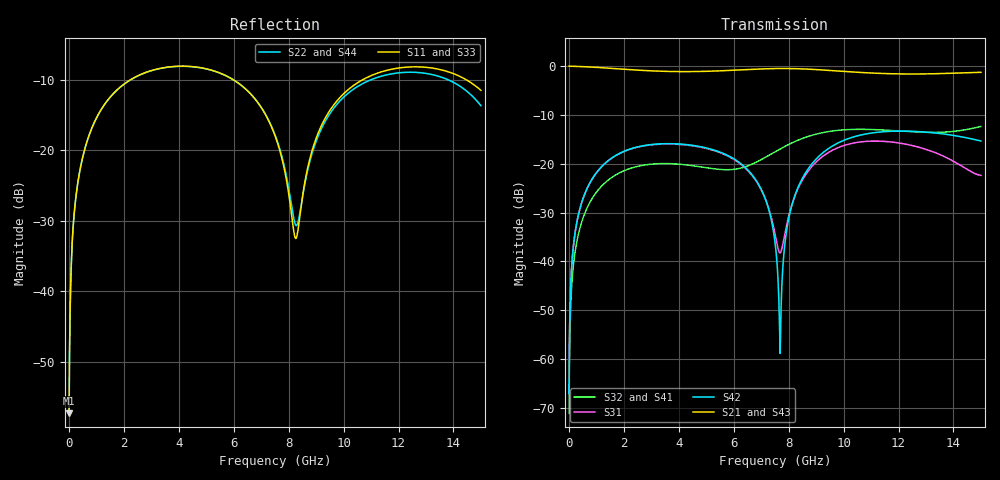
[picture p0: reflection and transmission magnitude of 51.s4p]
! Created with skrf 1.8.0 (http://scikit-rf.org).
# GHz S RI R 50.0
!freq ReS11 ImS11 ReS12 ImS12 ReS13 ImS13
! ReS14 ImS14
! ReS21 ImS21 ReS22 ImS22 ReS23 ImS23
! ReS24 ImS24
! ReS31 ImS31 ReS32 ImS32 ReS33 ImS33
! ReS34 ImS34
! ReS41 ImS41 ReS42 ImS42 ReS43 ImS43
! ReS44 ImS44
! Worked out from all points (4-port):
!   2499 points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, 5 MHz to 15 GHz, reference 50 ohm
!   strongest paths, dB at 5 MHz, 3.476 GHz, 7.19 GHz, 11.1 GHz, 15 GHz:
!     S21: 0.0, -1.1, -0.5, -1.4, -1.3
!     S43: 0.0, -1.1, -0.5, -1.4, -1.3
!     S42: -67.1, -15.9, -27.8, -13.7, -15.3
!     S31: -67.1, -16.0, -27.8, -15.4, -22.4
!     S32: -71.2, -20.0, -18.6, -13.0, -12.4
!     S41: -71.2, -20.0, -18.6, -13.0, -12.4
!   lowest |S11| = -57.3 dB at 5 MHz (marker M1), VSWR 1.00, Z = 50.1 + j0.0828 ohm
!   |S11| at or under -10 dB: start of sweep to 2.256 GHz; 5.973 GHz to 10.71 GHz (4.737 GHz wide, 56.8 % of centre); 14.45 GHz to end of sweep
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0.005  0.00109 0.000826  0.9989 -0.00212  5.34e-05 0.000438  -5.19e-05 -0.000272
       0.9989 -0.00212  0.00109 0.000826  -5.19e-05 -0.000272  5.34e-05 0.000438
       5.34e-05 0.000438  -5.19e-05 -0.000272  0.00109 0.000826  0.9989 -0.00212
       -5.19e-05 -0.000272  5.34e-05 0.000438  0.9989 -0.00212  0.00109 0.000826
0.4126719  0.0183 0.072  0.9748 -0.1743  0.0085 0.0347  -0.0071 -0.0215
           0.9748 -0.1743  0.0182 0.072  -0.00711 -0.0215  0.00865 0.0347
           0.0085 0.0347  -0.00711 -0.0215  0.0183 0.072  0.9748 -0.1743
           -0.0071 -0.0215  0.00865 0.0347  0.9748 -0.1743  0.0182 0.072
1.975823  0.2183 0.1916  0.6529 -0.6623  0.1087 0.0757  -0.081 -0.0224
          0.6529 -0.6623  0.2179 0.1917  -0.081 -0.0224  0.1107 0.0736
          0.1087 0.0757  -0.081 -0.0224  0.2184 0.1916  0.6529 -0.6623
          -0.081 -0.0224  0.1107 0.0736  0.6529 -0.6623  0.2179 0.1918
6.483952  0.1872 -0.188  -0.6561 -0.6476  0.046 -0.0734  -0.0444 0.0828
          -0.6561 -0.6476  0.1898 -0.1852  -0.044 0.0834  0.0452 -0.0755
          0.046 -0.0734  -0.044 0.0834  0.1891 -0.1878  -0.6556 -0.6476
          -0.0444 0.0828  0.0452 -0.0755  -0.6556 -0.6476  0.1897 -0.187
7.684452  0.0425 -0.0885  -0.902 -0.282  -0.0121 -0.00187  -0.0386 0.1363
          -0.902 -0.282  0.0478 -0.0886  -0.0375 0.1366  -0.00111 -0.000278
          -0.0121 -0.00187  -0.0375 0.1366  0.0455 -0.0896  -0.9016 -0.2825
          -0.0386 0.1363  -0.00111 -0.000278  -0.9016 -0.2825  0.046 -0.0911
9.228845  0.0858 0.1281  -0.8673 0.2873  0.0555 0.1044  0.0862 0.1895
          -0.8673 0.2873  0.0866 0.1184  0.0874 0.1886  0.0921 0.0893
          0.0555 0.1044  0.0874 0.1886  0.0885 0.1244  -0.8678 0.2868
          0.0862 0.1895  0.0921 0.0893  -0.8678 0.2868  0.0823 0.1174
15  0.1801 -0.1946  0.6164 0.6061  0.0752 0.0108  0.1569 -0.1824
    0.6164 0.6061  0.1634 -0.1261  0.1554 -0.184  -0.0819 -0.15
    0.0752 0.0108  0.1554 -0.184  0.1766 -0.1946  0.6184 0.6049
    0.1569 -0.1824  -0.0819 -0.15  0.6184 0.6049  0.1619 -0.1236
